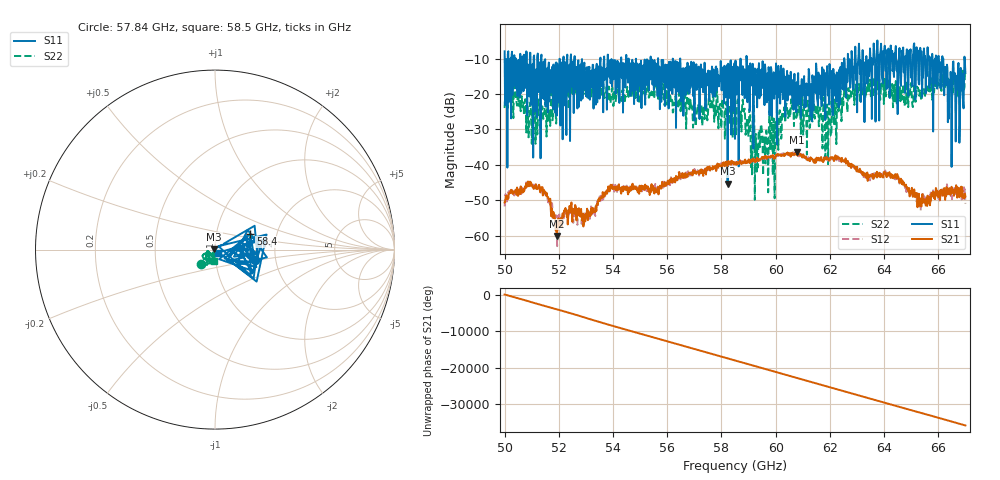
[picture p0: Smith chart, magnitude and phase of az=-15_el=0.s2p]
!Created with skrf (http://scikit-rf.org).
# GHz S RI R 50.0
!freq ReS11 ImS11 ReS21 ImS21 ReS12 ImS12 ReS22 ImS22
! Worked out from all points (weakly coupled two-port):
!   1001 points, 50 GHz to 67 GHz, reference 50 ohm
!   highest |S21| = -36.35 dB at 60.8 GHz (marker M1); lowest = -60.0 dB at 51.94 GHz (marker M2)
!   lowest |S11| = -45.3 dB at 58.23 GHz (marker M3), VSWR 1.01, Z = 49.5 + j0.111 ohm
!   |S11| at or under -10 dB: 52.59 GHz to 53.53 GHz (947.7 MHz wide, 1.79 % of centre); 56.48 GHz to 58.92 GHz (2.446 GHz wide, 4.24 % of centre); 58.93 GHz to 62.53 GHz (3.599 GHz wide, 5.93 % of centre) (the widest 3 of 64)
!   |S22| runs from -49.8 to -13.3 dB; largest |S21 - S12| = 0.0021
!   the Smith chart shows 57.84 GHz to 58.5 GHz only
!   S11 on the Smith chart (normalised r, x): 57.84 GHz: 1.55, -0.18; 58.4 GHz: 1.46, +0.27; 58.5 GHz: 1.03, -0.03
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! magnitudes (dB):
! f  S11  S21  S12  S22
! 50 GHz  -7.9  -50.6  -51.7  -24.0
! 50.15 GHz  -22.2  -48.0  -49.3  -20.5
! 51.31 GHz  -11.0  -47.7  -47.0  -28.6
! 51.94 GHz  -11.4  -60.0  -62.9  -19.7
! 52.84 GHz  -11.5  -54.8  -56.6  -19.6
! 53.98 GHz  -14.9  -46.7  -46.2  -18.2
! 55.68 GHz  -13.4  -48.3  -46.6  -21.3
! 57.84 GHz  -12.9  -40.4  -40.0  -19.1
! 58.23 GHz  -45.3  -40.3  -39.3  -23.0
! 58.4 GHz  -13.4  -38.9  -39.3  -26.1
! 58.5 GHz  -32.6  -39.8  -39.7  -24.0
! 58.79 GHz  -12.2  -39.0  -39.6  -21.6
! 59.32 GHz  -23.7  -38.0  -38.6  -34.2
! 60.8 GHz  -23.2  -36.3  -37.2  -26.3
! 61.34 GHz  -27.6  -38.3  -38.1  -26.9
! 61.88 GHz  -15.2  -38.5  -38.0  -24.1
! 62.61 GHz  -16.6  -39.3  -39.0  -19.8
! 64.18 GHz  -11.6  -42.7  -42.4  -17.5
! 65.28 GHz  -17.2  -48.1  -50.0  -19.6
! 66.1 GHz  -14.4  -47.5  -49.0  -18.4
! 66.44 GHz  -18.5  -48.4  -48.2  -16.4
! 67 GHz  -14.1  -48.9  -50.9  -14.3
